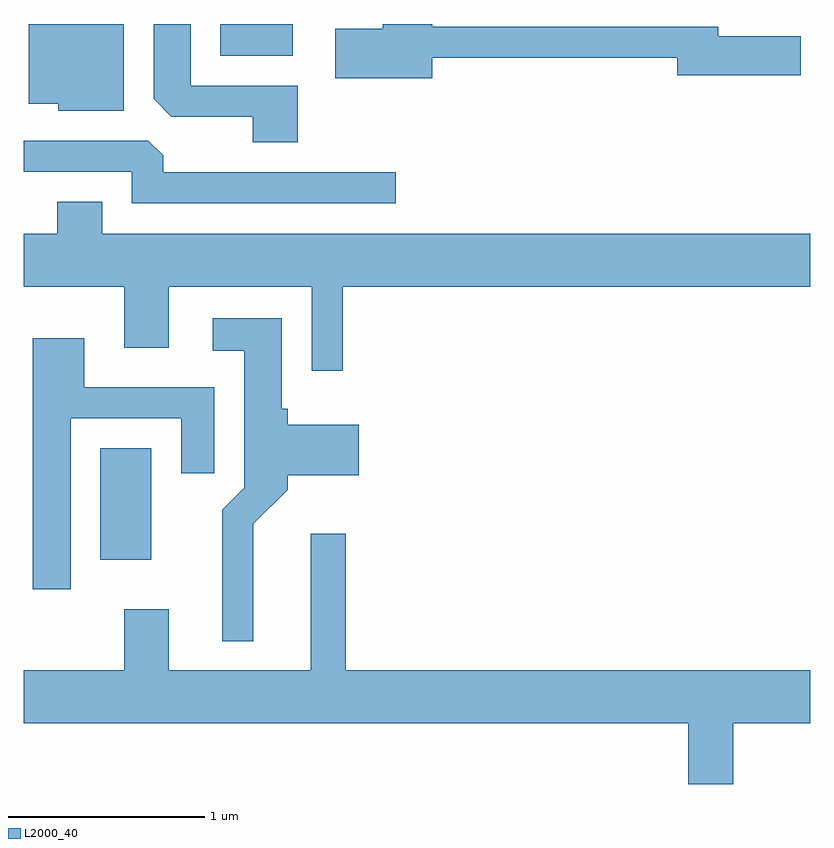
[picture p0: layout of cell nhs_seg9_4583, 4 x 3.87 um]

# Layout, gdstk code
import gdstk
lib = gdstk.Library(unit=1e-6, precision=1e-09)
def R(c, l, rs):  # rectangles x0, y0, x1, y1
    for r in rs: c.add(gdstk.rectangle(r[:2], r[2:], *l))
def P(c, l, *ps):  # polygons
    for p in ps: c.add(gdstk.Polygon(p, *l))
L2000_40 = (2000, 40)

nhs_seg9_4583 = lib.new_cell('nhs_seg9_4583')
R(nhs_seg9_4583, L2000_40, [(320.001,2043.706,320.259,2044.274), (320.611,2046.271,320.979,2046.432)])
P(nhs_seg9_4583, L2000_40, [(321.004,2046.119),(320.459,2046.119),(320.459,2046.432),(320.271,2046.432),(320.271,2046.052),(320.362,2045.961),(320.776,2045.961),(320.776,2045.831),(321.004,2045.831)],
  [(321.689,2046.261),(322.936,2046.261),(322.936,2046.171),(323.564,2046.171),(323.564,2046.369),(323.144,2046.369),(323.144,2046.419),(321.689,2046.419),(321.689,2046.432),(321.436,2046.432),(321.436,2046.409),(321.196,2046.409),(321.196,2046.156),(321.689,2046.156)],
  [(320.119,2046.432),(319.636,2046.432),(319.636,2046.026),(319.786,2046.026),(319.786,2045.991),(320.119,2045.991)],
  [(321.503,2045.679),(320.319,2045.679),(320.319,2045.764),(320.244,2045.839),(319.611,2045.839),(319.611,2045.681),(320.161,2045.681),(320.161,2045.521),(321.503,2045.521)],
  [(321.234,2045.096),(323.611,2045.096),(323.611,2045.364),(320.009,2045.364),(320.009,2045.529),(319.781,2045.529),(319.781,2045.364),(319.611,2045.364),(319.611,2045.096),(320.121,2045.096),(320.121,2044.786),(320.349,2044.786),(320.349,2045.096),(321.076,2045.096),(321.076,2044.668),(321.234,2044.668)],
  [(320.779,2043.889),(320.954,2044.064),(320.954,2044.136),(321.314,2044.136),(321.314,2044.394),(320.954,2044.394),(320.954,2044.474),(320.924,2044.474),(320.924,2044.934),(320.573,2044.934),(320.573,2044.771),(320.731,2044.771),(320.731,2044.072),(320.621,2043.962),(320.621,2043.293),(320.779,2043.293)],
  [(319.849,2044.426),(320.411,2044.426),(320.411,2044.148),(320.579,2044.148),(320.579,2044.584),(319.919,2044.584),(319.919,2044.834),(319.656,2044.834),(319.656,2043.556),(319.849,2043.556)],
  [(323.219,2042.876),(323.611,2042.876),(323.611,2043.144),(321.249,2043.144),(321.249,2043.839),(321.071,2043.839),(321.071,2043.144),(320.349,2043.144),(320.349,2043.454),(320.121,2043.454),(320.121,2043.144),(319.611,2043.144),(319.611,2042.876),(322.991,2042.876),(322.991,2042.566),(323.219,2042.566)])

lib.write_gds('nhs_seg9_4583.gds')
